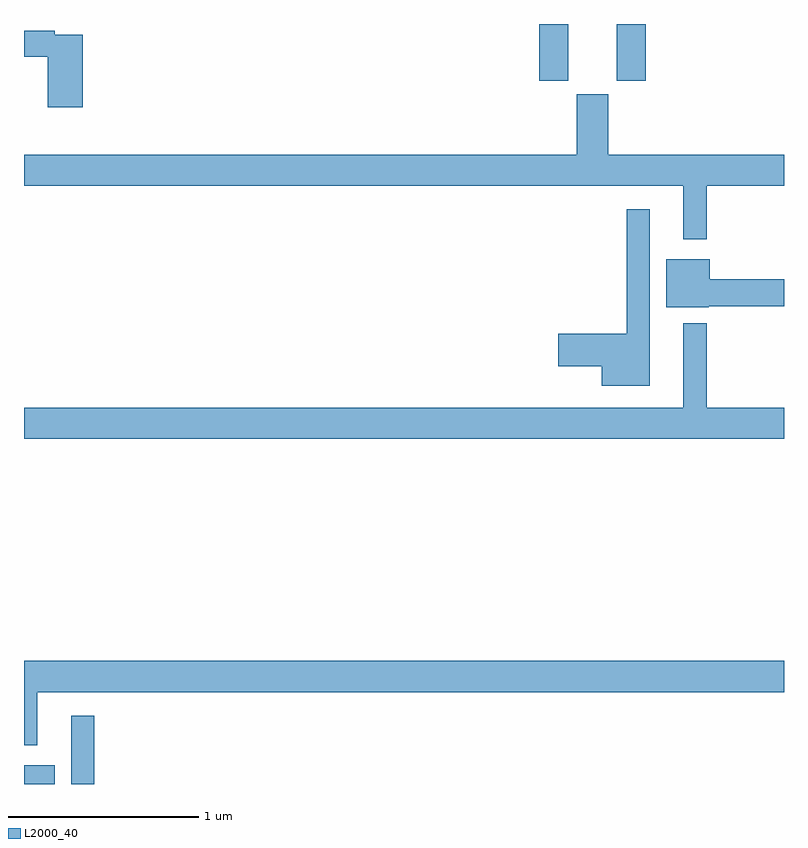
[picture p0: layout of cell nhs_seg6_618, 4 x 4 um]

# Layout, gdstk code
import gdstk
lib = gdstk.Library(unit=1e-6, precision=1e-09)
def R(c, l, rs):  # rectangles x0, y0, x1, y1
    for r in rs: c.add(gdstk.rectangle(r[:2], r[2:], *l))
def P(c, l, *ps):  # polygons
    for p in ps: c.add(gdstk.Polygon(p, *l))
L2000_40 = (2000, 40)

nhs_seg6_618 = lib.new_cell('nhs_seg6_618')
R(nhs_seg6_618, L2000_40, [(149,965.5,149.161,965.599), (149.249,965.5,149.371,965.86), (151.712,969.201,151.864,969.5), (152.12,969.201,152.273,969.5)])
P(nhs_seg6_618, L2000_40, [(149.309,969.444),(149.162,969.444),(149.162,969.464),(149,969.464),(149,969.328),(149.126,969.328),(149.126,969.063),(149.309,969.063)],
  [(152.593,968.648),(153,968.648),(153,968.812),(152.074,968.812),(152.074,969.129),(151.91,969.129),(151.91,968.812),(149,968.812),(149,968.648),(152.471,968.648),(152.471,968.367),(152.593,968.367)],
  [(152.293,968.524),(152.172,968.524),(152.172,967.871),(151.812,967.871),(151.812,967.7),(152.042,967.7),(152.042,967.595),(152.293,967.595)],
  [(152.604,968.015),(153,968.015),(153,968.157),(152.608,968.157),(152.608,968.263),(152.381,968.263),(152.381,968.009),(152.604,968.009)],
  [(153,967.48),(152.593,967.48),(152.593,967.924),(152.471,967.924),(152.471,967.48),(149,967.48),(149,967.316),(153,967.316)],
  [(149.071,965.984),(153,965.984),(153,966.148),(149,966.148),(149,965.703),(149.071,965.703)])

lib.write_gds('nhs_seg6_618.gds')
